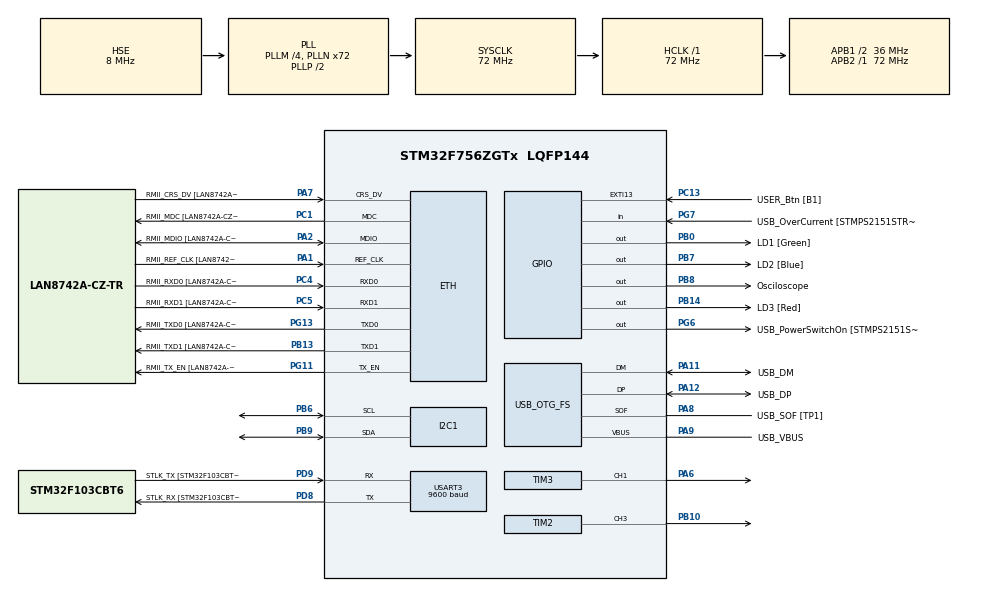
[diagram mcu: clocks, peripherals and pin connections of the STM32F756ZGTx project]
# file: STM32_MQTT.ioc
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CRC.CRCLength=CRC_POLYLENGTH_8B
CRC.DefaultInitValueUse=DEFAULT_INIT_VALUE_DISABLE
CRC.DefaultPolynomialUse=DEFAULT_POLYNOMIAL_DISABLE
ETH.MediaInterface=HAL_ETH_RMII_MODE
ETH.PHY_Name=LAN8742A_PHY_ADDRESS
ETH.PHY_Value=0
ETH.PhyAddress=0
I2C1.Timing=0x00808CD2
LWIP.BSP.number=1
LWIP.GATEWAY_ADDRESS=192.168.113.010
LWIP.IP_ADDRESS=192.168.113.005
LWIP.LWIP_DHCP=0
LWIP.LWIP_HTTPD=0
LWIP.LWIP_SNTP=1
LWIP.MEM_SIZE=8000
LWIP.NETMASK_ADDRESS=255.255.255.000
LWIP.SNTP_MAX_SERVERS=4
LWIP.Version=v2.1.2_Cube
LWIP0.BSP.STBoard=false
LWIP0.BSP.api=BSP_COMPONENT_DRIVER
LWIP0.BSP.component=LAN8742
LWIP0.BSP.instance=LAN8742
LWIP0.BSP.name=Driver_PHY
LWIP0.BSP.semaphore=S_LAN8742
LWIP0.BSP.solution=LAN8742
Mcu.Family=STM32F7
Mcu.Name=STM32F756ZGTx
Mcu.Package=LQFP144
NVIC.PriorityGroup=NVIC_PRIORITYGROUP_4
NVIC.TIM2_IRQn=true\:0\:0\:false\:false\:true\:true\:true\:true
PA1.GPIO_Label=RMII_REF_CLK [LAN8742A-CZ-TR_REFCLK0]
PA1.Mode=RMII
PA1.Signal=ETH_REF_CLK
PA10.GPIO_Label=USB_ID
PA10.Signal=USB_OTG_FS_ID
PA11.GPIO_Label=USB_DM
PA11.Mode=Device_Only
PA11.Signal=USB_OTG_FS_DM
PA12.GPIO_Label=USB_DP
PA12.Mode=Device_Only
PA12.Signal=USB_OTG_FS_DP
PA13.GPIO_Label=TMS
PA13.Mode=Serial_Wire
PA13.Signal=SYS_JTMS-SWDIO
PA14.GPIO_Label=TCK
PA14.Mode=Serial_Wire
PA14.Signal=SYS_JTCK-SWCLK
PA2.GPIO_Label=RMII_MDIO [LAN8742A-CZ-TR_MDIO]
PA2.Mode=RMII
PA2.Signal=ETH_MDIO
PA6.Signal=S_TIM3_CH1
PA7.GPIO_Label=RMII_CRS_DV [LAN8742A-CZ-TR_CRS_DV]
PA7.Mode=RMII
PA7.Signal=ETH_CRS_DV
PA8.GPIO_Label=USB_SOF [TP1]
PA8.Mode=Activate_SOF_FS
PA8.Signal=USB_OTG_FS_SOF
PA9.GPIO_Label=USB_VBUS
PA9.Mode=Activate_VBUS
PA9.Signal=USB_OTG_FS_VBUS
PB0.GPIO_Label=LD1 [Green]
PB0.Signal=GPIO_Output
PB10.Signal=S_TIM2_CH3
PB13.GPIO_Label=RMII_TXD1 [LAN8742A-CZ-TR_TXD1]
PB13.Mode=RMII
PB13.Signal=ETH_TXD1
PB14.GPIO_Label=LD3 [Red]
PB14.Signal=GPIO_Output
PB3.GPIO_Label=SW0
PB3.Signal=SYS_JTDO-SWO
PB6.Mode=I2C
PB6.Signal=I2C1_SCL
PB7.GPIO_Label=LD2 [Blue]
PB7.Signal=GPIO_Output
PB8.GPIO_Label=Osciloscope
PB8.PinState=GPIO_PIN_RESET
PB8.Signal=GPIO_Output
PB9.Mode=I2C
PB9.Signal=I2C1_SDA
PC1.GPIO_Label=RMII_MDC [LAN8742A-CZ-TR_MDC]
PC1.Mode=RMII
PC1.Signal=ETH_MDC
PC13.GPIO_Label=USER_Btn [B1]
PC13.Signal=GPXTI13
PC14/OSC32_IN.Mode=LSE-External-Oscillator
PC14/OSC32_IN.Signal=RCC_OSC32_IN
PC15/OSC32_OUT.Mode=LSE-External-Oscillator
PC15/OSC32_OUT.Signal=RCC_OSC32_OUT
PC4.GPIO_Label=RMII_RXD0 [LAN8742A-CZ-TR_RXD0]
PC4.Mode=RMII
PC4.Signal=ETH_RXD0
PC5.GPIO_Label=RMII_RXD1 [LAN8742A-CZ-TR_RXD1]
PC5.Mode=RMII
PC5.Signal=ETH_RXD1
PD8.GPIO_Label=STLK_RX [STM32F103CBT6_PA3]
PD8.Mode=Asynchronous
PD8.Signal=USART3_TX
PD9.GPIO_Label=STLK_TX [STM32F103CBT6_PA2]
PD9.Mode=Asynchronous
PD9.Signal=USART3_RX
PG11.GPIO_Label=RMII_TX_EN [LAN8742A-CZ-TR_TXEN]
PG11.Mode=RMII
PG11.Signal=ETH_TX_EN
PG13.GPIO_Label=RMII_TXD0 [LAN8742A-CZ-TR_TXD0]
PG13.Mode=RMII
PG13.Signal=ETH_TXD0
PG6.GPIO_Label=USB_PowerSwitchOn [STMPS2151STR_EN]
PG6.Signal=GPIO_Output
PG7.GPIO_Label=USB_OverCurrent [STMPS2151STR_FAULT]
PG7.Signal=GPIO_Input
PH0/OSC_IN.GPIO_Label=MCO [STM32F103CBT6_PA8]
PH0/OSC_IN.Mode=HSE-External-Clock-Source
PH0/OSC_IN.Signal=RCC_OSC_IN
PH1/OSC_OUT.Mode=HSE-External-Clock-Source
PH1/OSC_OUT.Signal=RCC_OSC_OUT
ProjectManager.HeapSize=0x200
ProjectManager.StackSize=0x400
ProjectManager.TargetToolchain=STM32CubeIDE
RCC.48MHZClocksFreq_Value=24000000
RCC.AHBFreq_Value=72000000
RCC.APB1CLKDivider=RCC_HCLK_DIV2
RCC.APB1Freq_Value=36000000
RCC.APB1TimFreq_Value=72000000
RCC.APB2Freq_Value=72000000
RCC.APB2TimFreq_Value=72000000
RCC.CortexFreq_Value=72000000
RCC.HCLKFreq_Value=72000000
RCC.HSE_VALUE=8000000
RCC.HSI_VALUE=16000000
RCC.PLLM=4
RCC.PLLMUL=RCC_PLL_MUL9
RCC.PLLN=72
RCC.PLLQ=3
RCC.PRESCALERUSB=RCC_USBCLKSOURCE_PLL_DIV1_5
RCC.RTCClockSelection=RCC_RTCCLKSOURCE_LSE
RCC.SYSCLKFreq_VALUE=72000000
RCC.SYSCLKSource=RCC_SYSCLKSOURCE_PLLCLK
RCC.SYSCLKSourceVirtual=RCC_SYSCLKSOURCE_PLLCLK
RCC.USBFreq_Value=48000000
RCC.VCOOutputFreq_Value=144000000
RTC.AsynchPrediv=63
RTC.SynchPrediv=511
SH.S_TIM2_CH3.0=TIM2_CH3,PWM Generation3 CH3
SH.S_TIM3_CH1.0=TIM3_CH1,PWM Generation1 CH1
TIM2.Channel-Output\ Compare1\ No\ Output=TIM_CHANNEL_1
TIM2.Channel-PWM\ Generation3\ CH3=TIM_CHANNEL_3
TIM2.Period=19999
TIM2.Prescaler=71
TIM2.Pulse-PWM\ Generation3\ CH3=19999
TIM3.Channel-PWM\ Generation1\ CH1=TIM_CHANNEL_1
TIM3.Period=1999
TIM3.Prescaler=71
USART3.BaudRate=9600
USART3.VirtualMode-Asynchronous=VM_ASYNC
USB_OTG_FS.VirtualMode=Device_Only
VP_CRC_VS_CRC.Mode=CRC_Activate
VP_LWIP_VS_Enabled.Mode=Enabled
VP_RTC_VS_RTC_Activate.Mode=RTC_Enabled
VP_TIM2_VS_ClockSourceINT.Mode=Internal
VP_TIM2_VS_no_output1.Mode=Output Compare1 No Output
board=NUCLEO-F756ZG

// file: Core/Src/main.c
/* USER CODE BEGIN Header */
/**
 ******************************************************************************
 * @file           : main.c
 * @brief          : Main program body
 ******************************************************************************
 * @attention
 *
 * Copyright (c) 2022 STMicroelectronics.
 * All rights reserved.
 *
 * This software is licensed under terms that can be found in the LICENSE file
 * in the root directory of this software component.
 * If no LICENSE file comes with this software, it is provided AS-IS.
 *
 ******************************************************************************
 */
/* USER CODE END Header */
#include "main.h"
#include "crc.h"
#include "i2c.h"
#include "lwip.h"
#include "rtc.h"
#include "tim.h"
#include "usart.h"
#include "usb_otg.h"
#include "gpio.h"

/* USER CODE BEGIN Includes */
#include "lwip/apps/mqtt.h"
#include "lwip_mqtt.h"
#include "lwip/apps/sntp.h"
#include "MLX90614.h"
#include "BH1750.h"
#include "BMP280.h"
/* USER CODE END Includes */

/* USER CODE BEGIN PV */
mqtt_client_t *client;
uint32_t cont = 0, blink = 0;
uint8_t mode = 0;
char buf[1000];
char packet[1000];
uint16_t len = 0;
extern struct netif gnetif;
extern uint8_t IP_ADDRESS[4];
extern ip4_addr_t ipaddr;
extern ip4_addr_t netmask;
extern ip4_addr_t gw;
RTC_TimeTypeDef RTC_time;
RTC_DateTypeDef RTC_date;
BH1750_typedef BH1750;
BMP280_typedef BMP280;
//char topic[50];
char client_id[50];
char sub_on_connect[100]="Control";
enum mode_enum MODE;
/* USER CODE END PV */

void SystemClock_Config(void);

int main(void)
{

  /* MCU Configuration--------------------------------------------------------*/

  /* Reset of all peripherals, Initializes the Flash interface and the Systick. */
  HAL_Init();

  /* USER CODE BEGIN Init */
	putenv("TZ=GMT-01:00");
  /* USER CODE END Init */

  /* Configure the system clock */
  SystemClock_Config();

  /* Initialize all configured peripherals */
  MX_GPIO_Init();
  MX_USART3_UART_Init();
  MX_USB_OTG_FS_PCD_Init();
  MX_LWIP_Init();
  MX_TIM2_Init();
  MX_CRC_Init();
  MX_I2C1_Init();
  MX_RTC_Init();
  MX_TIM3_Init();
  /* USER CODE BEGIN 2 */
	client = mqtt_client_new();
  /* USER CODE END 2 */

  /* Infinite loop */
  /* USER CODE BEGIN WHILE */
	ip_addr_t sntp_server_ip;
	IP4_ADDR(&sntp_server_ip, 162, 159, 200, 1);
	sntp_setserver(0, &sntp_server_ip);
	sntp_setoperatingmode(SNTP_OPMODE_POLL);
	sntp_init();
	if (HAL_I2C_IsDeviceReady(&hi2c1, BMP280_ADRESS, 10, 50) == 0) {
		__HAL_TIM_SET_AUTORELOAD(&htim2, 499999);
		BMP280_init(&BMP280);
		MODE = Temp;
		sprintf(client_id, "Temp");
	}
	if (HAL_I2C_IsDeviceReady(&hi2c1, BH1750_ADRESS, 10, 50) == 0) {
		__HAL_TIM_SET_AUTORELOAD(&htim2, 150149);
		BH1750_init(&BH1750);
		MODE = Light;
		sprintf(client_id, "Light");
	}
	if (client != NULL) {
		mqtt_do_connect(client, sub_on_connect);
	}
		HAL_TIM_Base_Start(&htim3);
		HAL_TIM_PWM_Start(&htim3, TIM_CHANNEL_1);
		HAL_TIM_Base_Start_IT(&htim2);
	while (1) {
		MX_LWIP_Process();
    /* USER CODE END WHILE */

	}
}

void SystemClock_Config(void)
{
  RCC_OscInitTypeDef RCC_OscInitStruct = {0};
  RCC_ClkInitTypeDef RCC_ClkInitStruct = {0};

  /** Configure LSE Drive Capability
  */
  HAL_PWR_EnableBkUpAccess();
  __HAL_RCC_LSEDRIVE_CONFIG(RCC_LSEDRIVE_LOW);

  /** Configure the main internal regulator output voltage
  */
  __HAL_RCC_PWR_CLK_ENABLE();
  __HAL_PWR_VOLTAGESCALING_CONFIG(PWR_REGULATOR_VOLTAGE_SCALE3);

  /** Initializes the RCC Oscillators according to the specified parameters
  * in the RCC_OscInitTypeDef structure.
  */
  RCC_OscInitStruct.OscillatorType = RCC_OSCILLATORTYPE_HSE|RCC_OSCILLATORTYPE_LSE;
  RCC_OscInitStruct.HSEState = RCC_HSE_BYPASS;
  RCC_OscInitStruct.LSEState = RCC_LSE_ON;
  RCC_OscInitStruct.PLL.PLLState = RCC_PLL_ON;
  RCC_OscInitStruct.PLL.PLLSource = RCC_PLLSOURCE_HSE;
  RCC_OscInitStruct.PLL.PLLM = 4;
  RCC_OscInitStruct.PLL.PLLN = 72;
  RCC_OscInitStruct.PLL.PLLP = RCC_PLLP_DIV2;
  RCC_OscInitStruct.PLL.PLLQ = 3;
  if (HAL_RCC_OscConfig(&RCC_OscInitStruct) != HAL_OK)
  {
    Error_Handler();
  }

  /** Initializes the CPU, AHB and APB buses clocks
  */
  RCC_ClkInitStruct.ClockType = RCC_CLOCKTYPE_HCLK|RCC_CLOCKTYPE_SYSCLK
                              |RCC_CLOCKTYPE_PCLK1|RCC_CLOCKTYPE_PCLK2;
  RCC_ClkInitStruct.SYSCLKSource = RCC_SYSCLKSOURCE_PLLCLK;
  RCC_ClkInitStruct.AHBCLKDivider = RCC_SYSCLK_DIV1;
  RCC_ClkInitStruct.APB1CLKDivider = RCC_HCLK_DIV2;
  RCC_ClkInitStruct.APB2CLKDivider = RCC_HCLK_DIV1;

  if (HAL_RCC_ClockConfig(&RCC_ClkInitStruct, FLASH_LATENCY_2) != HAL_OK)
  {
    Error_Handler();
  }
}

void Error_Handler(void)
{
	__disable_irq();
	while (1) {
	}
}
